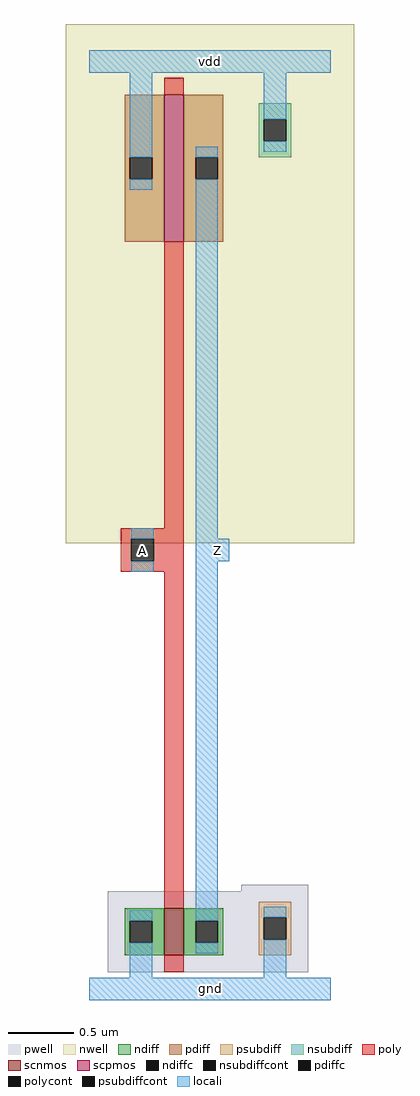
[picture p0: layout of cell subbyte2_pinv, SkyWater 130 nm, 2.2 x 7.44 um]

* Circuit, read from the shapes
.subckt subbyte2_pinv A Z gnd vdd
XM1 Z A gnd gnd sky130_fd_pr__nfet_01v8 w=0.36 l=0.15
XM2 Z A vdd vdd sky130_fd_pr__pfet_01v8 w=1.12 l=0.15
.ends

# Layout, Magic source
magic
tech sky130A
magscale 1 2
<< nwell >>
rect -36 679 404 1471
<< pwell >>
rect 232 149 334 159
rect 28 25 334 149
<< scnmos >>
rect 114 51 144 123
<< scpmos >>
rect 114 1139 144 1363
<< ndiff >>
rect 54 104 114 123
rect 54 70 62 104
rect 96 70 114 104
rect 54 51 114 70
rect 144 104 204 123
rect 144 70 162 104
rect 196 70 204 104
rect 144 51 204 70
<< pdiff >>
rect 54 1268 114 1363
rect 54 1234 62 1268
rect 96 1234 114 1268
rect 54 1139 114 1234
rect 144 1268 204 1363
rect 144 1234 162 1268
rect 196 1234 204 1268
rect 144 1139 204 1234
<< ndiffc >>
rect 62 70 96 104
rect 162 70 196 104
<< pdiffc >>
rect 62 1234 96 1268
rect 162 1234 196 1268
<< psubdiff >>
rect 258 109 308 133
rect 258 75 266 109
rect 300 75 308 109
rect 258 51 308 75
<< nsubdiff >>
rect 258 1326 308 1350
rect 258 1292 266 1326
rect 300 1292 308 1326
rect 258 1268 308 1292
<< psubdiffcont >>
rect 266 75 300 109
<< nsubdiffcont >>
rect 266 1292 300 1326
<< poly >>
rect 114 1363 144 1389
rect 114 702 144 1139
rect 48 686 144 702
rect 48 652 64 686
rect 98 652 144 686
rect 48 636 144 652
rect 114 123 144 636
rect 114 25 144 51
<< polycont >>
rect 64 652 98 686
<< locali >>
rect 0 1397 368 1431
rect 62 1268 96 1397
rect 266 1326 300 1397
rect 62 1218 96 1234
rect 162 1268 196 1284
rect 266 1276 300 1292
rect 64 686 98 702
rect 64 636 98 652
rect 162 686 196 1234
rect 162 652 213 686
rect 62 104 96 120
rect 62 17 96 70
rect 162 104 196 652
rect 162 54 196 70
rect 266 109 300 125
rect 266 17 300 75
rect 0 -17 368 17
<< labels >>
rlabel locali s 81 669 81 669 4 A
port 1 nsew
rlabel locali s 196 669 196 669 4 Z
port 2 nsew
rlabel locali s 184 0 184 0 4 gnd
port 3 nsew
rlabel locali s 184 1414 184 1414 4 vdd
port 4 nsew
<< properties >>
string FIXED_BBOX 0 0 368 1167
<< end >>
